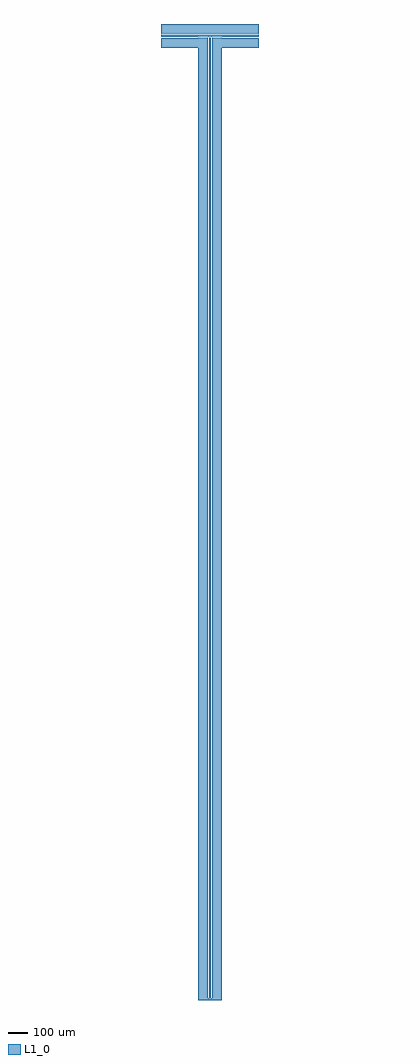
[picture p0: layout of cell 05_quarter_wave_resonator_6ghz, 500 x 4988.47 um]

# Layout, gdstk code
import gdstk
lib = gdstk.Library(unit=1e-6, precision=1e-09)
def R(c, l, rs):  # rectangles x0, y0, x1, y1
    for r in rs: c.add(gdstk.rectangle(r[:2], r[2:], *l))
L1_0 = (1, 0)

c_05_quarter_wave_resonato = lib.new_cell('05_quarter_wave_resonator_6ghz')
R(c_05_quarter_wave_resonato, L1_0, [(-61,0,-11,4918.465), (-11,0,11,10), (-5,0,5,4918.465), (11,0,61,4918.465), (-250,4866.465,-11,4916.465), (11,4866.465,250,4916.465), (-250,4922.465,250,4932.465), (-250,4938.465,250,4988.465)])

lib.write_gds('05_quarter_wave_resonator_6ghz.gds')
